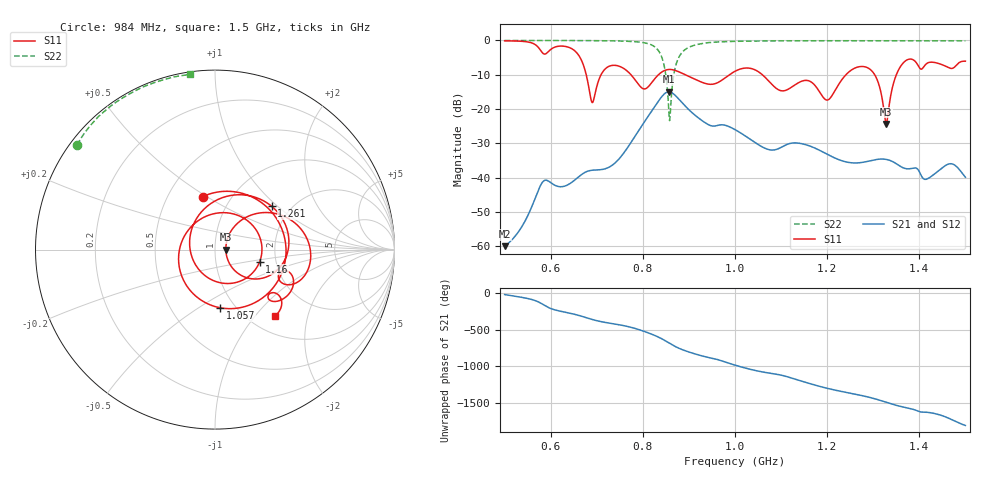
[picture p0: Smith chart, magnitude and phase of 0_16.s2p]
! TOUCHSTONE file generated by CST MICROWAVE STUDIO
! Date and time: Sat Oct 24 10:45:00 2020
! Project name: Scenario_1_Planar_Body_Tissue_Center.cst
! Parameters = {hfat=3; hmuscle=50; hskin=1.5; hgap=25; Wtissue=700; Ltissue=700; L_HA=400; MT=2.54; Rad_Dielectric=30; Rad_Lower=7.3; Rad_Upper=30; a_HA=580; a_WG=246; b_HA=500; b_WG=121; c_HA=0; c_WG=187; d_feed=85; dx1=432.8; h_feed=15; h_lower=18; h_upper=40}
! Header version: 2018
! Port assignment regex: !\s*Touchstone port\s*([0-9]+)\s*=\s*(CST MWS port|CST DS port)\s*([0-9]+|Zmin|Zmax)\s*\(\"(.*)\"\)(\s*mode\s*([0-9]+))?.*
! Touchstone port assignment:
! Touchstone port 1 = CST MWS port 1 ("")
! Touchstone port 2 = CST MWS port 2 ("")
# GHz S DB R 50
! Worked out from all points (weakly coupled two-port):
!   1003 points, 500 MHz to 1.5 GHz, reference 50 ohm
!   highest |S21| = -14.98 dB at 856 MHz (marker M1); lowest = -60.0 dB at 500 MHz (marker M2)
!   lowest |S11| = -24.4 dB at 1.328 GHz (marker M3), VSWR 1.13, Z = 56.4 - j0.126 ohm
!   |S11| at or under -10 dB: 774.2 MHz to 833.9 MHz (59.73 MHz wide, 7.43 % of centre); 892.1 MHz to 987.9 MHz (95.79 MHz wide, 10.2 % of centre); 1.059 GHz to 1.241 GHz (181.6 MHz wide, 15.8 % of centre)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
!   |S22| runs from -23.4 to 0.0 dB; largest |S21 - S12| = 2.1e-06
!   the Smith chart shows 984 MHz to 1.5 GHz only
!   S11 on the Smith chart (normalised r, x): 984 MHz: 0.74, +0.48; 1.057 GHz: 0.85, -0.62; 1.16 GHz: 1.64, -0.24; 1.261 GHz: 1.60, +0.92; 1.5 GHz: 1.30, -1.28
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0.5  -0.12 -121.4  -60.00 -14.9  -60.00 -14.9  -0.01 151.1
0.625  -1.64 173.0  -42.64 110.7  -42.64 110.7  -0.03 142.1
0.667  -5.85 97.0  -39.11 47.4  -39.11 47.4  -0.04 138.4
0.701  -12.96 -118.1  -37.76 -15.5  -37.76 -15.5  -0.07 134.8
0.758  -8.13 108.5  -32.94 -81.3  -32.94 -81.3  -0.20 126.0
0.792  -13.06 6.7  -26.05 -137.7  -26.05 -137.7  -0.48 116.5
0.834  -9.99 -177.9  -17.66 120.0  -17.66 120.0  -3.01 83.8
0.856  -8.47 113.4  -14.98 42.2  -14.98 42.2  -19.60 5.1
0.893  -10.05 15.2  -19.30 -69.3  -19.30 -69.3  -2.55 173.4
0.934  -12.48 -93.9  -23.89 -146.9  -23.89 -146.9  -0.79 153.8
0.984  -10.37 102.9  -24.97 127.2  -24.97 127.2  -0.32 142.8
1  -9.00 58.1  -26.00 95.4  -26.00 95.4  -0.26 140.4
1.057  -9.74 -84.7  -30.89 4.9  -30.89 4.9  -0.16 133.8
1.118  -14.03 93.8  -30.09 -72.6  -30.09 -72.6  -0.12 128.2
1.16  -11.77 -15.1  -30.68 -154.0  -30.68 -154.0  -0.09 124.8
1.167  -12.28 -35.1  -31.03 -166.9  -31.03 -166.9  -0.09 124.2
1.21  -16.19 154.3  -33.86 122.2  -33.86 122.2  -0.09 120.9
1.261  -8.01 37.3  -35.73 56.1  -35.73 56.1  -0.09 117.1
1.328  -24.37 -1.1  -34.70 -53.8  -34.70 -53.8  -0.08 112.0
1.334  -19.48 45.1  -34.89 -65.9  -34.89 -65.9  -0.08 111.6
1.372  -5.77 7.3  -37.41 -129.1  -37.41 -129.1  -0.09 108.6
1.5  -6.05 -47.8  -39.88 -13.3  -39.89 -13.3  -0.13 98.0
